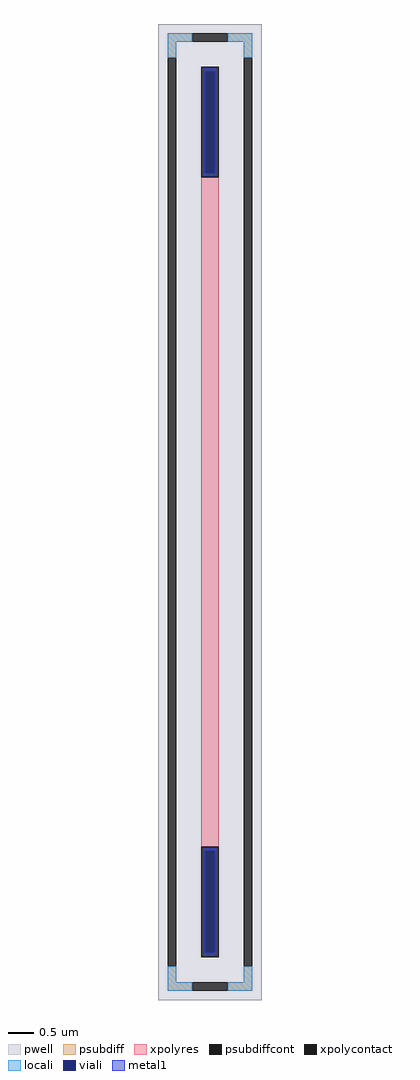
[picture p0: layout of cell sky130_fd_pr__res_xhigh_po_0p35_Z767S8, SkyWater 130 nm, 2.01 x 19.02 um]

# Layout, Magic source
magic
tech sky130A
magscale 1 2
<< pwell >>
rect -201 -1902 201 1902
<< psubdiff >>
rect -165 1832 -69 1866
rect 69 1832 165 1866
rect -165 1770 -131 1832
rect 131 1770 165 1832
rect -165 -1832 -131 -1770
rect 131 -1832 165 -1770
rect -165 -1866 -69 -1832
rect 69 -1866 165 -1832
<< psubdiffcont >>
rect -69 1832 69 1866
rect -165 -1770 -131 1770
rect 131 -1770 165 1770
rect -69 -1866 69 -1832
<< xpolycontact >>
rect -35 1304 35 1736
rect -35 -1736 35 -1304
<< xpolyres >>
rect -35 -1304 35 1304
<< locali >>
rect -165 1832 -69 1866
rect 69 1832 165 1866
rect -165 1770 -131 1832
rect 131 1770 165 1832
rect -165 -1832 -131 -1770
rect 131 -1832 165 -1770
rect -165 -1866 -69 -1832
rect 69 -1866 165 -1832
<< viali >>
rect -19 1321 19 1718
rect -19 -1718 19 -1321
<< metal1 >>
rect -25 1718 25 1730
rect -25 1321 -19 1718
rect 19 1321 25 1718
rect -25 1309 25 1321
rect -25 -1321 25 -1309
rect -25 -1718 -19 -1321
rect 19 -1718 25 -1321
rect -25 -1730 25 -1718
<< properties >>
string FIXED_BBOX -148 -1849 148 1849
string gencell sky130_fd_pr__res_xhigh_po_0p35
string library sky130
string parameters w 0.350 l 13.2 m 1 nx 1 wmin 0.350 lmin 0.50 rho 2000 val 76.504k dummy 0 dw 0.0 term 188.2 sterm 0.0 caplen 0 wmax 0.350 guard 1 glc 1 grc 1 gtc 1 gbc 1 compatible {sky130_fd_pr__res_xhigh_po_0p35  sky130_fd_pr__res_xhigh_po_0p69 sky130_fd_pr__res_xhigh_po_1p41  sky130_fd_pr__res_xhigh_po_2p85 sky130_fd_pr__res_xhigh_po_5p73} snake 0 full_metal 1 n_guard 0 hv_guard 0 vias 1 viagb 0 viagt 0 viagl 0 viagr 0
<< end >>
